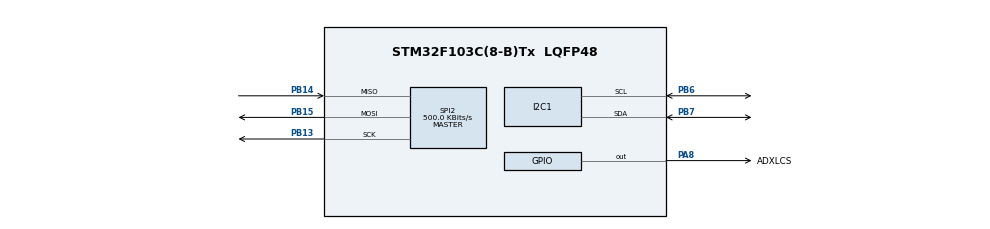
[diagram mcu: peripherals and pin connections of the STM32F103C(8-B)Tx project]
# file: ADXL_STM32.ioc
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Mcu.Family=STM32F1
Mcu.Name=STM32F103C(8-B)Tx
Mcu.Package=LQFP48
NVIC.PriorityGroup=NVIC_PRIORITYGROUP_4
NVIC.SPI2_IRQn=true\:0\:0\:false\:false\:true\:true\:true\:true
PA13.Mode=Trace_Asynchronous_SW
PA13.Signal=SYS_JTMS-SWDIO
PA14.Mode=Trace_Asynchronous_SW
PA14.Signal=SYS_JTCK-SWCLK
PA8.GPIO_Label=ADXLCS
PA8.Signal=GPIO_Output
PB13.Mode=Full_Duplex_Master
PB13.Signal=SPI2_SCK
PB14.Mode=Full_Duplex_Master
PB14.Signal=SPI2_MISO
PB15.Mode=Full_Duplex_Master
PB15.Signal=SPI2_MOSI
PB3.Mode=Trace_Asynchronous_SW
PB3.Signal=SYS_JTDO-TRACESWO
PB6.Mode=I2C
PB6.Signal=I2C1_SCL
PB7.Mode=I2C
PB7.Signal=I2C1_SDA
PD0-OSC_IN.Mode=HSE-External-Oscillator
PD0-OSC_IN.Signal=RCC_OSC_IN
PD1-OSC_OUT.Mode=HSE-External-Oscillator
PD1-OSC_OUT.Signal=RCC_OSC_OUT
ProjectManager.HeapSize=0x200
ProjectManager.StackSize=0x400
ProjectManager.TargetToolchain=STM32CubeIDE
RCC.AHBCLKDivider=RCC_SYSCLK_DIV2
RCC.AHBFreq_Value=4000000
RCC.APB1Freq_Value=4000000
RCC.APB1TimFreq_Value=4000000
RCC.APB2Freq_Value=4000000
RCC.APB2TimFreq_Value=4000000
RCC.HCLKFreq_Value=4000000
RCC.SYSCLKSource=RCC_SYSCLKSOURCE_PLLCLK
SPI2.BaudRatePrescaler=SPI_BAUDRATEPRESCALER_8
SPI2.CLKPhase=SPI_PHASE_2EDGE
SPI2.CLKPolarity=SPI_POLARITY_HIGH
SPI2.CRCCalculation=SPI_CRCCALCULATION_DISABLE
SPI2.CalculateBaudRate=500.0 KBits/s
SPI2.DataSize=SPI_DATASIZE_8BIT
SPI2.Direction=SPI_DIRECTION_2LINES
SPI2.Mode=SPI_MODE_MASTER
SPI2.VirtualType=VM_MASTER
board=custom

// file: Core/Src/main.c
/* USER CODE BEGIN Header */
/**
  ******************************************************************************
  * @file           : main.c
  * @brief          : Main program body
  ******************************************************************************
  * @attention
  *
  * Copyright (c) 2025 STMicroelectronics.
  * All rights reserved.
  *
  * This software is licensed under terms that can be found in the LICENSE file
  * in the root directory of this software component.
  * If no LICENSE file comes with this software, it is provided AS-IS.
  *
  ******************************************************************************
  */
/* USER CODE END Header */
#include "main.h"

/* USER CODE BEGIN Includes */
#include "ADXL375.h"
#include "adxl345.h"
#include <stdio.h>
/* USER CODE END Includes */

I2C_HandleTypeDef hi2c1;

SPI_HandleTypeDef hspi2;

/* USER CODE BEGIN PV */
uint8_t chipID=0;
int16_t x, y, z;
ADXL375 dev;
/* USER CODE END PV */

void SystemClock_Config(void);
static void MX_GPIO_Init(void);
static void MX_SPI2_Init(void);
static void MX_I2C1_Init(void);
/* USER CODE BEGIN PFP */
void adxl_read (uint8_t Reg, uint8_t *Buffer, size_t len)
{
	Reg |= 0x80;  // read operation
	Reg |= 0x40;  // multibyte read
	HAL_GPIO_WritePin (GPIOA, GPIO_PIN_8, GPIO_PIN_RESET);  // pull the cs pin low to enable the slave
	HAL_SPI_Transmit (&hspi2, &Reg, 1, 100);  // send the address from where you want to read data
	HAL_SPI_Receive (&hspi2, Buffer, len, 100);  // read 6 BYTES of data
	HAL_GPIO_WritePin (GPIOA, GPIO_PIN_8, GPIO_PIN_SET);  // pull the cs pin high to disable the slave
}

/* USER CODE END PFP */

int main(void)
{

  /* MCU Configuration--------------------------------------------------------*/

  /* Reset of all peripherals, Initializes the Flash interface and the Systick. */
  HAL_Init();

  /* Configure the system clock */
  SystemClock_Config();

  /* Initialize all configured peripherals */
  MX_GPIO_Init();
  MX_SPI2_Init();
  MX_I2C1_Init();
  /* USER CODE BEGIN 2 */
  HAL_StatusTypeDef status;

 /* structure instance for data storage */

  int errors = 0;		/* Initialisation error check */
//  adxl_read(0x00, &chipID, 1);

  errors = ADXL375_Initialise(&dev, &hspi2);
  /* USER CODE END 2 */

  /* Infinite loop */
  /* USER CODE BEGIN WHILE */
  while (1)
  {
//	    x=adxl_readx();
//	    y=adxl_ready();
//	    z=adxl_readz();
//	    HAL_Delay(100);
	uint8_t tx1[2] = {0x80,0x00};
	uint8_t rx1, rx2;

//	ToggleCSLow();
//	HAL_Delay(10);
//	HAL_SPI_TransmitReceive(&hspi2, &tx1, &rx1, 1, HAL_MAX_DELAY);
//	HAL_Delay(10);
//	    HAL_SPI_TransmitReceive(&hspi2, &tx2, &rx2, 1, HAL_MAX_DELAY);
//	ToggleCSHigh();
	 status = ADXL375_ReadAcceleration(&dev);
	  if (status == HAL_OK) {
		  ADXL375_CleanRawValues(&dev);

	 HAL_Delay(10);

//		  sprintf(txBuffer, "Acceleration Values: X = %.3f\tY = %.3f\tZ = %.3f g\n\r", dev.accData[0] / 1000, dev.accData[1] / 1000, dev.accData[2] / 1000);
//		  CDC_Transmit_FS((uint8_t *) txBuffer, strlen(txBuffer));
//
//		  HAL_Delay(500);
	  }
    /* USER CODE END WHILE */

  }
}

void SystemClock_Config(void)
{
  RCC_OscInitTypeDef RCC_OscInitStruct = {0};
  RCC_ClkInitTypeDef RCC_ClkInitStruct = {0};

  /** Initializes the RCC Oscillators according to the specified parameters
  * in the RCC_OscInitTypeDef structure.
  */
  RCC_OscInitStruct.OscillatorType = RCC_OSCILLATORTYPE_HSI;
  RCC_OscInitStruct.HSIState = RCC_HSI_ON;
  RCC_OscInitStruct.HSICalibrationValue = RCC_HSICALIBRATION_DEFAULT;
  RCC_OscInitStruct.PLL.PLLState = RCC_PLL_ON;
  RCC_OscInitStruct.PLL.PLLSource = RCC_PLLSOURCE_HSI_DIV2;
  RCC_OscInitStruct.PLL.PLLMUL = RCC_PLL_MUL2;
  if (HAL_RCC_OscConfig(&RCC_OscInitStruct) != HAL_OK)
  {
    Error_Handler();
  }

  /** Initializes the CPU, AHB and APB buses clocks
  */
  RCC_ClkInitStruct.ClockType = RCC_CLOCKTYPE_HCLK|RCC_CLOCKTYPE_SYSCLK
                              |RCC_CLOCKTYPE_PCLK1|RCC_CLOCKTYPE_PCLK2;
  RCC_ClkInitStruct.SYSCLKSource = RCC_SYSCLKSOURCE_PLLCLK;
  RCC_ClkInitStruct.AHBCLKDivider = RCC_SYSCLK_DIV2;
  RCC_ClkInitStruct.APB1CLKDivider = RCC_HCLK_DIV1;
  RCC_ClkInitStruct.APB2CLKDivider = RCC_HCLK_DIV1;

  if (HAL_RCC_ClockConfig(&RCC_ClkInitStruct, FLASH_LATENCY_0) != HAL_OK)
  {
    Error_Handler();
  }
}

static void MX_I2C1_Init(void)
{

  hi2c1.Instance = I2C1;
  hi2c1.Init.ClockSpeed = 100000;
  hi2c1.Init.DutyCycle = I2C_DUTYCYCLE_2;
  hi2c1.Init.OwnAddress1 = 0;
  hi2c1.Init.AddressingMode = I2C_ADDRESSINGMODE_7BIT;
  hi2c1.Init.DualAddressMode = I2C_DUALADDRESS_DISABLE;
  hi2c1.Init.OwnAddress2 = 0;
  hi2c1.Init.GeneralCallMode = I2C_GENERALCALL_DISABLE;
  hi2c1.Init.NoStretchMode = I2C_NOSTRETCH_DISABLE;
  if (HAL_I2C_Init(&hi2c1) != HAL_OK)
  {
    Error_Handler();
  }

}

static void MX_SPI2_Init(void)
{

  /* SPI2 parameter configuration*/
  hspi2.Instance = SPI2;
  hspi2.Init.Mode = SPI_MODE_MASTER;
  hspi2.Init.Direction = SPI_DIRECTION_2LINES;
  hspi2.Init.DataSize = SPI_DATASIZE_8BIT;
  hspi2.Init.CLKPolarity = SPI_POLARITY_HIGH;
  hspi2.Init.CLKPhase = SPI_PHASE_2EDGE;
  hspi2.Init.NSS = SPI_NSS_SOFT;
  hspi2.Init.BaudRatePrescaler = SPI_BAUDRATEPRESCALER_8;
  hspi2.Init.FirstBit = SPI_FIRSTBIT_MSB;
  hspi2.Init.TIMode = SPI_TIMODE_DISABLE;
  hspi2.Init.CRCCalculation = SPI_CRCCALCULATION_DISABLE;
  hspi2.Init.CRCPolynomial = 10;
  if (HAL_SPI_Init(&hspi2) != HAL_OK)
  {
    Error_Handler();
  }

}

static void MX_GPIO_Init(void)
{
  GPIO_InitTypeDef GPIO_InitStruct = {0};

  /* GPIO Ports Clock Enable */
  __HAL_RCC_GPIOD_CLK_ENABLE();
  __HAL_RCC_GPIOB_CLK_ENABLE();
  __HAL_RCC_GPIOA_CLK_ENABLE();

  /*Configure GPIO pin Output Level */
  HAL_GPIO_WritePin(ADXLCS_GPIO_Port, ADXLCS_Pin, GPIO_PIN_RESET);

  /*Configure GPIO pin : ADXLCS_Pin */
  GPIO_InitStruct.Pin = ADXLCS_Pin;
  GPIO_InitStruct.Mode = GPIO_MODE_OUTPUT_PP;
  GPIO_InitStruct.Pull = GPIO_NOPULL;
  GPIO_InitStruct.Speed = GPIO_SPEED_FREQ_LOW;
  HAL_GPIO_Init(ADXLCS_GPIO_Port, &GPIO_InitStruct);

}

void Error_Handler(void)
{
  __disable_irq();
  while (1)
  {
  }
}
